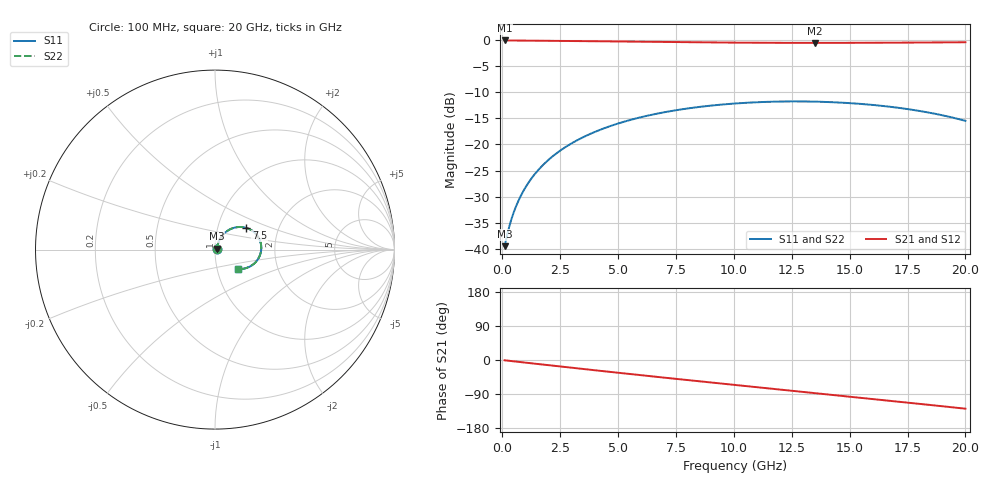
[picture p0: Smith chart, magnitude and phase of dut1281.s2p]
! Touchstone file exported from HFSS 2026.1.0
!  File:  C:/ffzhzh/LocalFiles/Ansys_Project_Files/temp_train_TSV_RDL_1281_1783330482_5512.aedt
!  Generated:  05:46:38 PM Jul  6, 2026
!  Design:  TSV_RDL
!  Project:  temp_train_TSV_RDL_1281_1783330482_5512
! Variables:
!  h_bsmrdl = 3.03um
!  h_ox = 20um
!  h_rdl = 5um
!  h_sub = 86.68um
!  h_tmrdl = 3.37um
!  h_tsv = 86.68um
!  h_via = 3um
!  l_bsmrdl = 210.65um
!  l_sub = 1986.29um
!  l_tmrdl = 202.36um
!  m_sub = 200um
!  pitch = 34.94um
!  r_tsv = 6.19um
!  s_tmrdl = 10um
!  w_bsmrdl = 26.95um
!  w_sub = 500um
!  w_tmrdl = 21.35um
!  x_tsv_center1 = 213.035um
!  x_tsv_center2 = 450.635um
!  x_tsv_center3 = 674.345um
!  x_tsv_center4 = 911.945um
!  x_tsv_center5 = 1135.655um
!  x_tsv_center6 = 1373.255um
# GHz S MA R 50.000000
! Terminal data exported
! Port[1] = TM_RDL1_1_T1
! Port[2] = TM_RDL5_1_T1
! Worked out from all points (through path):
!   200 points, 100 MHz to 20 GHz, reference 50 ohm
!   highest |S21| = -0.08 dB at 100 MHz (marker M1); lowest = -0.6 dB at 13.5 GHz (marker M2)
!   group delay of S21, straight-line fit = 17.7 ps
!   lowest |S11| = -39.5 dB at 100 MHz (marker M3), VSWR 1.02, Z = 51 + j0.436 ohm
!   |S11| at or under -10 dB: start of sweep to end of sweep
!   |S22| runs from -39.5 to -11.8 dB; largest |S21 - S12| = 7.4e-13
!   S11 on the Smith chart (normalised r, x): 100 MHz: 1.02, +0.01; 7.5 GHz: 1.37, +0.35; 20 GHz: 1.26, -0.28
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0.1  0.0106 23.8  0.9903 -0.7  0.9903 -0.7  0.0106 23.8
! Gamma 0 0 0 0
! Port Impedance 50 0 50 0
0.3  0.01632 46.6  0.9892 -2.2  0.9892 -2.2  0.01632 46.6
0.5  0.02257 55.5  0.9883 -3.5  0.9883 -3.5  0.02257 55.5
0.8  0.03217 61.7  0.9872 -5.6  0.9872 -5.6  0.03217 61.7
1.2  0.04527 64.7  0.9858 -8.3  0.9858 -8.3  0.04527 64.7
1.7  0.06165 65.0  0.984 -11.7  0.984 -11.7  0.06165 65.0
2.2  0.07775 63.8  0.982 -15.1  0.982 -15.1  0.07775 63.8
2.8  0.09652 61.4  0.9794 -19.1  0.9794 -19.1  0.09652 61.4
3.5  0.1175 57.9  0.976 -23.8  0.976 -23.8  0.1175 57.9
4.2  0.1374 54.1  0.9724 -28.4  0.9724 -28.4  0.1374 54.1
5  0.1586 49.5  0.968 -33.7  0.968 -33.7  0.1586 49.5
6.8  0.1995 38.8  0.9582 -45.3  0.9582 -45.3  0.1995 38.8
7.5  0.2126 34.6  0.9546 -49.8  0.9546 -49.8  0.2126 34.6
8.8  0.2327 26.8  0.9486 -58.0  0.9486 -58.0  0.2327 26.8
10.1  0.247 19.0  0.9439 -66.2  0.9439 -66.2  0.247 19.0
11.8  0.257 8.9  0.9399 -76.8  0.9399 -76.8  0.257 8.9
13.4  0.2572 -0.6  0.9386 -86.7  0.9386 -86.7  0.2572 -0.6
13.5  0.2569 -1.2  0.9386 -87.3  0.9386 -87.3  0.2569 -1.2
15.1  0.2478 -10.8  0.9397 -97.3  0.9397 -97.3  0.2478 -10.7
16.7  0.2301 -20.3  0.9427 -107.4  0.9427 -107.4  0.2301 -20.3
18.3  0.2041 -29.9  0.9468 -117.5  0.9468 -117.5  0.2041 -29.9
20  0.1682 -40.1  0.9517 -128.5  0.9517 -128.5  0.1682 -40.0
